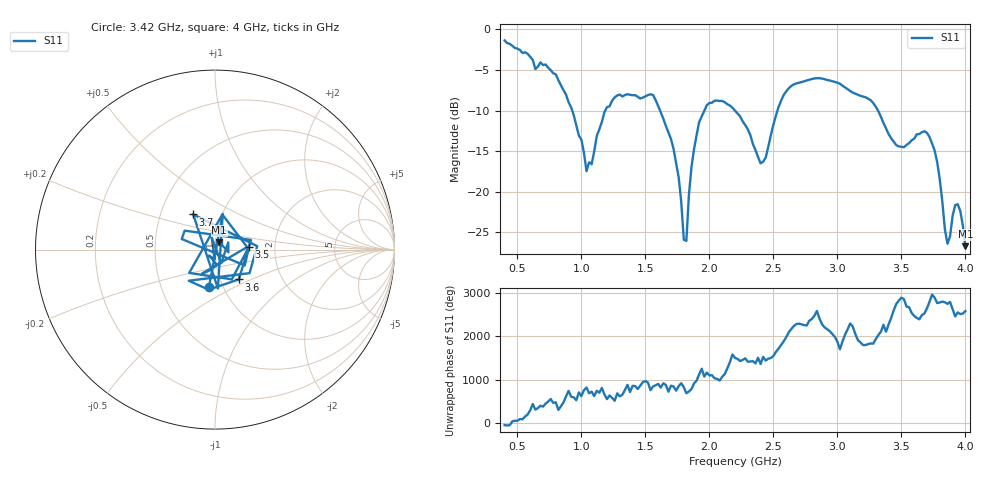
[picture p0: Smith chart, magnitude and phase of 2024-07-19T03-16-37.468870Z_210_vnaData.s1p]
!Created with skrf (http://scikit-rf.org).
# Hz S RI R 50.0
!freq ReS11 ImS11
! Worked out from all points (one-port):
!   181 points, 400 MHz to 4 GHz, reference 50 ohm
!   lowest |S11| = -26.7 dB at 4 GHz (marker M1), VSWR 1.10, Z = 52.2 + j4.17 ohm
!   |S11| at or under -10 dB: 1.615 GHz to 1.96 GHz (345.7 MHz wide, 19.3 % of centre); 2.2 GHz to 2.532 GHz (331.5 MHz wide, 14 % of centre); 3.317 GHz to end of sweep (the widest 3 of 4)
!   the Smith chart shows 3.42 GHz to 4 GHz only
!   S11 on the Smith chart (normalised r, x): 3.42 GHz: 0.86, -0.38; 3.5 GHz: 1.46, +0.04; 3.6 GHz: 1.22, -0.43; 3.7 GHz: 0.73, +0.30; 4 GHz: 1.04, +0.08
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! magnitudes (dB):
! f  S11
! 400 MHz  -1.4
! 860 MHz  -7.5
! 1.04 GHz  -17.5
! 1.18 GHz  -10.2
! 1.3 GHz  -8.0
! 1.56 GHz  -8.1
! 1.7 GHz  -13.5
! 1.76 GHz  -18.2
! 1.8 GHz  -25.9
! 1.82 GHz  -26.0
! 1.86 GHz  -16.9
! 1.92 GHz  -11.4
! 2.04 GHz  -8.8
! 2.2 GHz  -10.0
! 2.4 GHz  -16.5
! 2.56 GHz  -8.8
! 2.66 GHz  -6.8
! 3.1 GHz  -7.6
! 3.28 GHz  -9.1
! 3.42 GHz  -13.4
! 3.5 GHz  -14.5
! 3.56 GHz  -14.0
! 3.6 GHz  -13.5
! 3.7 GHz  -12.7
! 3.78 GHz  -16.4
! 3.86 GHz  -26.4
! 3.94 GHz  -21.5
! 4 GHz  -26.7
